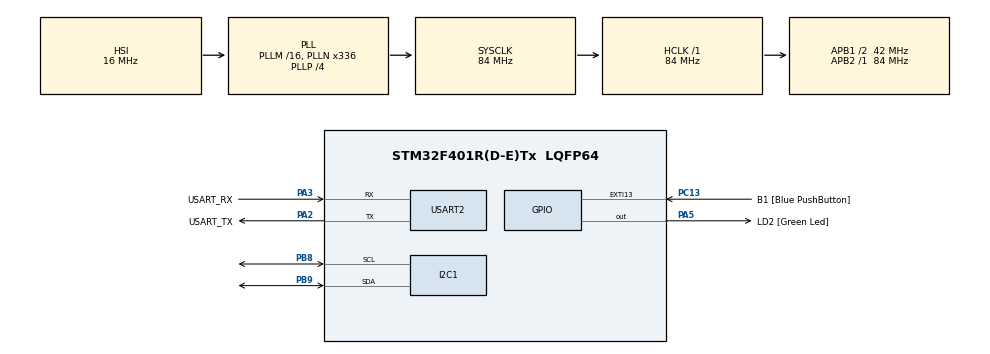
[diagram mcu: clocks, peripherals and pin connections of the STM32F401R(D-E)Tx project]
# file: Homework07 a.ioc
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Dma.I2C1_RX.1.Direction=DMA_PERIPH_TO_MEMORY
Dma.I2C1_RX.1.FIFOMode=DMA_FIFOMODE_DISABLE
Dma.I2C1_RX.1.Instance=DMA1_Stream0
Dma.I2C1_RX.1.MemDataAlignment=DMA_MDATAALIGN_BYTE
Dma.I2C1_RX.1.MemInc=DMA_MINC_ENABLE
Dma.I2C1_RX.1.Mode=DMA_NORMAL
Dma.I2C1_RX.1.PeriphDataAlignment=DMA_PDATAALIGN_BYTE
Dma.I2C1_RX.1.PeriphInc=DMA_PINC_DISABLE
Dma.I2C1_RX.1.Priority=DMA_PRIORITY_HIGH
Dma.Request0=USART2_TX
Dma.Request1=I2C1_RX
Dma.USART2_TX.0.Direction=DMA_MEMORY_TO_PERIPH
Dma.USART2_TX.0.FIFOMode=DMA_FIFOMODE_DISABLE
Dma.USART2_TX.0.Instance=DMA1_Stream6
Dma.USART2_TX.0.MemDataAlignment=DMA_MDATAALIGN_BYTE
Dma.USART2_TX.0.MemInc=DMA_MINC_ENABLE
Dma.USART2_TX.0.Mode=DMA_NORMAL
Dma.USART2_TX.0.PeriphDataAlignment=DMA_PDATAALIGN_BYTE
Dma.USART2_TX.0.PeriphInc=DMA_PINC_DISABLE
Dma.USART2_TX.0.Priority=DMA_PRIORITY_LOW
I2C1.AddressingMode=I2C_ADDRESSINGMODE_7BIT
Mcu.Family=STM32F4
Mcu.Name=STM32F401R(D-E)Tx
Mcu.Package=LQFP64
NVIC.DMA1_Stream0_IRQn=true\:0\:0\:false\:false\:true\:false\:true\:true
NVIC.DMA1_Stream6_IRQn=true\:0\:0\:false\:false\:true\:false\:true\:true
NVIC.I2C1_ER_IRQn=true\:0\:0\:false\:false\:true\:true\:true\:true
NVIC.I2C1_EV_IRQn=true\:0\:0\:false\:false\:true\:true\:true\:true
NVIC.PriorityGroup=NVIC_PRIORITYGROUP_0
NVIC.TIM2_IRQn=true\:0\:0\:false\:false\:true\:true\:true\:true
NVIC.USART2_IRQn=true\:0\:0\:false\:false\:true\:true\:true\:true
PA13.GPIO_Label=TMS
PA13.Mode=Serial_Wire
PA13.Signal=SYS_JTMS-SWDIO
PA14.GPIO_Label=TCK
PA14.Mode=Serial_Wire
PA14.Signal=SYS_JTCK-SWCLK
PA2.GPIO_Label=USART_TX
PA2.GPIO_Mode=GPIO_MODE_AF_PP
PA2.GPIO_PuPd=GPIO_NOPULL
PA2.GPIO_Speed=GPIO_SPEED_FREQ_LOW
PA2.Mode=Asynchronous
PA2.Signal=USART2_TX
PA3.GPIO_Label=USART_RX
PA3.GPIO_Mode=GPIO_MODE_AF_PP
PA3.GPIO_PuPd=GPIO_NOPULL
PA3.GPIO_Speed=GPIO_SPEED_FREQ_LOW
PA3.Mode=Asynchronous
PA3.Signal=USART2_RX
PA5.GPIO_Label=LD2 [Green Led]
PA5.GPIO_Mode=GPIO_MODE_OUTPUT_PP
PA5.GPIO_PuPd=GPIO_NOPULL
PA5.GPIO_Speed=GPIO_SPEED_FREQ_LOW
PA5.Signal=GPIO_Output
PB3.GPIO_Label=SWO
PB3.Signal=SYS_JTDO-SWO
PB8.GPIO_Pu=GPIO_PULLUP
PB8.Mode=I2C
PB8.Signal=I2C1_SCL
PB9.GPIO_Pu=GPIO_PULLUP
PB9.Mode=I2C
PB9.Signal=I2C1_SDA
PC13-ANTI_TAMP.GPIO_Label=B1 [Blue PushButton]
PC13-ANTI_TAMP.GPIO_ModeDefaultEXTI=GPIO_MODE_IT_FALLING
PC13-ANTI_TAMP.GPIO_PuPd=GPIO_NOPULL
PC13-ANTI_TAMP.Signal=GPXTI13
PC14-OSC32_IN.Mode=LSE-External-Oscillator
PC14-OSC32_IN.Signal=RCC_OSC32_IN
PC15-OSC32_OUT.Mode=LSE-External-Oscillator
PC15-OSC32_OUT.Signal=RCC_OSC32_OUT
PH0\ -\ OSC_IN.Mode=HSE-External-Clock-Source
PH0\ -\ OSC_IN.Signal=RCC_OSC_IN
PH1\ -\ OSC_OUT.Mode=HSE-External-Clock-Source
PH1\ -\ OSC_OUT.Signal=RCC_OSC_OUT
ProjectManager.HeapSize=0x200
ProjectManager.StackSize=0x400
ProjectManager.TargetToolchain=STM32CubeIDE
RCC.48MHZClocksFreq_Value=48000000
RCC.AHBFreq_Value=84000000
RCC.APB1CLKDivider=RCC_HCLK_DIV2
RCC.APB1Freq_Value=42000000
RCC.APB1TimFreq_Value=84000000
RCC.APB2Freq_Value=84000000
RCC.APB2TimFreq_Value=84000000
RCC.CortexFreq_Value=84000000
RCC.HCLKFreq_Value=84000000
RCC.HSE_VALUE=8000000
RCC.HSI_VALUE=16000000
RCC.PLLN=336
RCC.PLLP=RCC_PLLP_DIV4
RCC.PLLQ=7
RCC.SYSCLKFreq_VALUE=84000000
RCC.SYSCLKSource=RCC_SYSCLKSOURCE_PLLCLK
RCC.VCOOutputFreq_Value=336000000
TIM2.Period=8399
TIM2.Prescaler=9999
USART2.VirtualMode=VM_ASYNC
VP_TIM2_VS_ClockSourceINT.Mode=Internal
board=NUCLEO-F401RE

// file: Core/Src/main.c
/* USER CODE BEGIN Header */
/**
 ******************************************************************************
 * @file           : main.c
 * @brief          : Main program body
 ******************************************************************************
 * @attention
 *
 * Copyright (c) 2024 STMicroelectronics.
 * All rights reserved.
 *
 * This software is licensed under terms that can be found in the LICENSE file
 * in the root directory of this software component.
 * If no LICENSE file comes with this software, it is provided AS-IS.
 *
 ******************************************************************************
 */
/* USER CODE END Header */
#include "main.h"

/* USER CODE BEGIN Includes */
#include <string.h>
/* USER CODE END Includes */

/* USER CODE BEGIN PD */
#define LM75_ADDRESS_R 0b10010001
#define LM75_ADDRESS_W 0b10010000
#define LM75_TEMP_ADDRESS 0x00
/* USER CODE END PD */

I2C_HandleTypeDef hi2c1;
DMA_HandleTypeDef hdma_i2c1_rx;

TIM_HandleTypeDef htim2;

UART_HandleTypeDef huart2;
DMA_HandleTypeDef hdma_usart2_tx;

void SystemClock_Config(void);
static void MX_GPIO_Init(void);
static void MX_DMA_Init(void);
static void MX_USART2_UART_Init(void);
static void MX_I2C1_Init(void);
static void MX_TIM2_Init(void);

/* USER CODE BEGIN 0 */

uint8_t value[2];
char output[20];
float temp;

void HAL_I2C_MasterRxCpltCallback(I2C_HandleTypeDef *hi2c)
{
	if (hi2c == &hi2c1) {
		if (value[0] > 127) {
			/* negative temperature: strip sign bit and apply two's complement offset */
			uint16_t raw = ((value[0] & 0x7F) << 8) | value[1];
			temp = -128.0f + raw / 256.0f;
		} else {
			temp = ((value[0] << 8) | value[1]) / 256.0f;
		}
		int len = snprintf(output, sizeof(output), "Temp: %.2f C\r\n", temp);
		HAL_UART_Transmit_DMA(&huart2, (uint8_t *)output, len);
	}
}

void HAL_TIM_PeriodElapsedCallback(TIM_HandleTypeDef *htim)
{
	if (htim == &htim2)
		HAL_I2C_Master_Receive_DMA(&hi2c1, LM75_ADDRESS_R, value, 2);
}

/* USER CODE END 0 */

int main(void)
{

	/* MCU Configuration--------------------------------------------------------*/

	/* Reset of all peripherals, Initializes the Flash interface and the Systick. */
	HAL_Init();

	/* Configure the system clock */
	SystemClock_Config();

	/* Initialize all configured peripherals */
	MX_GPIO_Init();
	MX_DMA_Init();
	MX_USART2_UART_Init();
	MX_I2C1_Init();
	MX_TIM2_Init();
	/* USER CODE BEGIN 2 */
	/* LM75 pointer register defaults to 0x00 (temperature) at power-on */
	HAL_TIM_Base_Start_IT(&htim2);
	/* USER CODE END 2 */

	/* Infinite loop */
	while (1)
	{

	}
}

void SystemClock_Config(void)
{
	RCC_OscInitTypeDef RCC_OscInitStruct = {0};
	RCC_ClkInitTypeDef RCC_ClkInitStruct = {0};

	/** Configure the main internal regulator output voltage
	 */
	__HAL_RCC_PWR_CLK_ENABLE();
	__HAL_PWR_VOLTAGESCALING_CONFIG(PWR_REGULATOR_VOLTAGE_SCALE2);

	/** Initializes the RCC Oscillators according to the specified parameters
	 * in the RCC_OscInitTypeDef structure.
	 */
	RCC_OscInitStruct.OscillatorType = RCC_OSCILLATORTYPE_HSI;
	RCC_OscInitStruct.HSIState = RCC_HSI_ON;
	RCC_OscInitStruct.HSICalibrationValue = RCC_HSICALIBRATION_DEFAULT;
	RCC_OscInitStruct.PLL.PLLState = RCC_PLL_ON;
	RCC_OscInitStruct.PLL.PLLSource = RCC_PLLSOURCE_HSI;
	RCC_OscInitStruct.PLL.PLLM = 16;
	RCC_OscInitStruct.PLL.PLLN = 336;
	RCC_OscInitStruct.PLL.PLLP = RCC_PLLP_DIV4;
	RCC_OscInitStruct.PLL.PLLQ = 7;
	if (HAL_RCC_OscConfig(&RCC_OscInitStruct) != HAL_OK)
	{
		Error_Handler();
	}

	/** Initializes the CPU, AHB and APB buses clocks
	 */
	RCC_ClkInitStruct.ClockType = RCC_CLOCKTYPE_HCLK|RCC_CLOCKTYPE_SYSCLK
			|RCC_CLOCKTYPE_PCLK1|RCC_CLOCKTYPE_PCLK2;
	RCC_ClkInitStruct.SYSCLKSource = RCC_SYSCLKSOURCE_PLLCLK;
	RCC_ClkInitStruct.AHBCLKDivider = RCC_SYSCLK_DIV1;
	RCC_ClkInitStruct.APB1CLKDivider = RCC_HCLK_DIV2;
	RCC_ClkInitStruct.APB2CLKDivider = RCC_HCLK_DIV1;

	if (HAL_RCC_ClockConfig(&RCC_ClkInitStruct, FLASH_LATENCY_2) != HAL_OK)
	{
		Error_Handler();
	}
}

static void MX_I2C1_Init(void)
{

	hi2c1.Instance = I2C1;
	hi2c1.Init.ClockSpeed = 100000;
	hi2c1.Init.DutyCycle = I2C_DUTYCYCLE_2;
	hi2c1.Init.OwnAddress1 = 0;
	hi2c1.Init.AddressingMode = I2C_ADDRESSINGMODE_7BIT;
	hi2c1.Init.DualAddressMode = I2C_DUALADDRESS_DISABLE;
	hi2c1.Init.OwnAddress2 = 0;
	hi2c1.Init.GeneralCallMode = I2C_GENERALCALL_DISABLE;
	hi2c1.Init.NoStretchMode = I2C_NOSTRETCH_DISABLE;
	if (HAL_I2C_Init(&hi2c1) != HAL_OK)
	{
		Error_Handler();
	}

}

static void MX_TIM2_Init(void)
{

	TIM_ClockConfigTypeDef sClockSourceConfig = {0};
	TIM_MasterConfigTypeDef sMasterConfig = {0};

	htim2.Instance = TIM2;
	htim2.Init.Prescaler = 9999;
	htim2.Init.CounterMode = TIM_COUNTERMODE_UP;
	htim2.Init.Period = 8399;
	htim2.Init.ClockDivision = TIM_CLOCKDIVISION_DIV1;
	htim2.Init.AutoReloadPreload = TIM_AUTORELOAD_PRELOAD_DISABLE;
	if (HAL_TIM_Base_Init(&htim2) != HAL_OK)
	{
		Error_Handler();
	}
	sClockSourceConfig.ClockSource = TIM_CLOCKSOURCE_INTERNAL;
	if (HAL_TIM_ConfigClockSource(&htim2, &sClockSourceConfig) != HAL_OK)
	{
		Error_Handler();
	}
	sMasterConfig.MasterOutputTrigger = TIM_TRGO_RESET;
	sMasterConfig.MasterSlaveMode = TIM_MASTERSLAVEMODE_DISABLE;
	if (HAL_TIMEx_MasterConfigSynchronization(&htim2, &sMasterConfig) != HAL_OK)
	{
		Error_Handler();
	}

}

static void MX_USART2_UART_Init(void)
{

	huart2.Instance = USART2;
	huart2.Init.BaudRate = 115200;
	huart2.Init.WordLength = UART_WORDLENGTH_8B;
	huart2.Init.StopBits = UART_STOPBITS_1;
	huart2.Init.Parity = UART_PARITY_NONE;
	huart2.Init.Mode = UART_MODE_TX_RX;
	huart2.Init.HwFlowCtl = UART_HWCONTROL_NONE;
	huart2.Init.OverSampling = UART_OVERSAMPLING_16;
	if (HAL_UART_Init(&huart2) != HAL_OK)
	{
		Error_Handler();
	}

}

static void MX_DMA_Init(void)
{

	/* DMA controller clock enable */
	__HAL_RCC_DMA1_CLK_ENABLE();

	/* DMA interrupt init */
	/* DMA1_Stream0_IRQn interrupt configuration */
	HAL_NVIC_SetPriority(DMA1_Stream0_IRQn, 0, 0);
	HAL_NVIC_EnableIRQ(DMA1_Stream0_IRQn);
	/* DMA1_Stream6_IRQn interrupt configuration */
	HAL_NVIC_SetPriority(DMA1_Stream6_IRQn, 0, 0);
	HAL_NVIC_EnableIRQ(DMA1_Stream6_IRQn);

}

static void MX_GPIO_Init(void)
{
	GPIO_InitTypeDef GPIO_InitStruct = {0};

	/* GPIO Ports Clock Enable */
	__HAL_RCC_GPIOC_CLK_ENABLE();
	__HAL_RCC_GPIOH_CLK_ENABLE();
	__HAL_RCC_GPIOA_CLK_ENABLE();
	__HAL_RCC_GPIOB_CLK_ENABLE();

	/*Configure GPIO pin Output Level */
	HAL_GPIO_WritePin(LD2_GPIO_Port, LD2_Pin, GPIO_PIN_RESET);

	/*Configure GPIO pin : B1_Pin */
	GPIO_InitStruct.Pin = B1_Pin;
	GPIO_InitStruct.Mode = GPIO_MODE_IT_FALLING;
	GPIO_InitStruct.Pull = GPIO_NOPULL;
	HAL_GPIO_Init(B1_GPIO_Port, &GPIO_InitStruct);

	/*Configure GPIO pin : LD2_Pin */
	GPIO_InitStruct.Pin = LD2_Pin;
	GPIO_InitStruct.Mode = GPIO_MODE_OUTPUT_PP;
	GPIO_InitStruct.Pull = GPIO_NOPULL;
	GPIO_InitStruct.Speed = GPIO_SPEED_FREQ_LOW;
	HAL_GPIO_Init(LD2_GPIO_Port, &GPIO_InitStruct);

}

void Error_Handler(void)
{
	__disable_irq();
	while (1)
	{
	}
}
